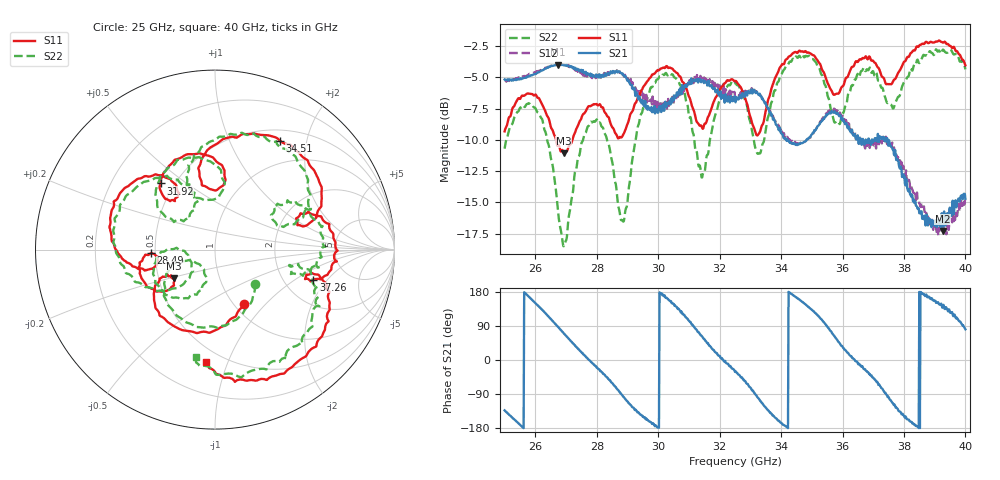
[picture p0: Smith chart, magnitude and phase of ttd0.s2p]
!Keysight Technologies,N5225A,MY55451607,A.10.47.03
!Date: Friday, May 31, 2024 11:47:46
!Correction: S11(Full 2 Port(1,2))
!S21(Full 2 Port(1,2))
!S12(Full 2 Port(1,2))
!S22(Full 2 Port(1,2))
!S2P File: Measurements: S11, S21, S12, S22:
# Hz S  RI  R 50
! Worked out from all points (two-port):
!   801 points, 25 GHz to 40 GHz, reference 50 ohm
!   highest |S21| = -3.98 dB at 26.74 GHz (marker M1); lowest = -17.3 dB at 39.27 GHz (marker M2)
!   |S21| within 3 dB of the highest: start of sweep to 29.45 GHz; 30.46 GHz to 32.16 GHz (1.703 GHz wide, 5.44 % of centre)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
!   lowest |S11| = -11.1 dB at 26.93 GHz (marker M3), VSWR 1.78, Z = 30 - j10.4 ohm
!   |S11| at or under -10 dB: 26.67 GHz to 27.21 GHz (533.7 MHz wide, 1.98 % of centre)
!   |S22| runs from -18.5 to -2.7 dB; largest |S21 - S12| = 0.066
!   S11 on the Smith chart (normalised r, x): 25 GHz: 1.11, -0.76; 28.49 GHz: 0.47, -0.02; 31.92 GHz: 0.42, +0.40; 34.51 GHz: 0.65, +1.56; 37.26 GHz: 2.89, -1.45; 40 GHz: 0.41, -0.84
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2.5e10  0.1608 -0.3017  -0.376 -0.4035  -0.3687 -0.402  0.2202 -0.1912
2.588125e10  -0.255 -0.4099  -0.538 0.1956  -0.5468 0.2033  -0.1565 -0.4068
2.674375e10  -0.2668 -0.1392  0.0329 0.6313  0.038 0.631  -0.15 -0.0595
2.693125e10  -0.2288 -0.1604  0.2136 0.5914  0.2169 0.5931  -0.0815 -0.0864
2.75125e10  -0.3142 -0.2324  0.5594 0.1936  0.55 0.2051  -0.1486 -0.2714
2.84875e10  -0.3574 -0.0194  0.2939 -0.5064  0.306 -0.4987  -0.2627 0.0045
2.88625e10  -0.323 -0.0796  -0.066 -0.5714  -0.0455 -0.5712  -0.1322 -0.0685
3.000625e10  -0.5848 0.1362  -0.4078 -0.0112  -0.4402 -0.00308  -0.555 0.0172
3.113125e10  -0.2176 0.3611  -0.00597 0.5451  -0.00814 0.5447  -0.1139 0.317
3.191875e10  -0.3023 0.3687  0.4729 0.1474  0.4969 0.1686  -0.3221 0.2668
3.25e10  -0.0995 0.5339  0.3882 -0.2353  0.4012 -0.2504  -0.1539 0.5109
3.3175e10  0.0152 0.3355  -0.0141 -0.4864  -0.0125 -0.488  0.0164 0.2895
3.37375e10  -0.0607 0.5245  -0.3174 -0.2112  -0.3233 -0.2238  -0.1446 0.4477
3.450625e10  0.361 0.6071  -0.2924 0.0814  -0.2948 0.0856  0.2186 0.6442
3.50125e10  0.58 0.3796  -0.2234 0.2484  -0.2225 0.2443  0.4875 0.4532
3.5575e10  0.4982 0.1309  0.067 0.4026  0.0682 0.4061  0.4268 0.1433
3.608125e10  0.5089 0.2015  0.3263 0.1645  0.3378 0.1662  0.3459 0.253
3.72625e10  0.5485 -0.1676  0.0908 -0.3097  0.0983 -0.3008  0.4922 -0.1392
3.750625e10  0.5055 -0.1542  -0.0455 -0.3129  -0.039 -0.3095  0.4263 -0.1288
3.836875e10  0.6232 -0.3724  -0.1778 -0.0237  -0.1934 -0.0192  0.5629 -0.2783
3.926875e10  0.3167 -0.7071  -0.1073 0.0848  -0.1082 0.0958  0.2872 -0.6671
4e10  -0.0484 -0.6266  0.0284 0.1817  0.0236 0.1778  -0.1051 -0.5961
